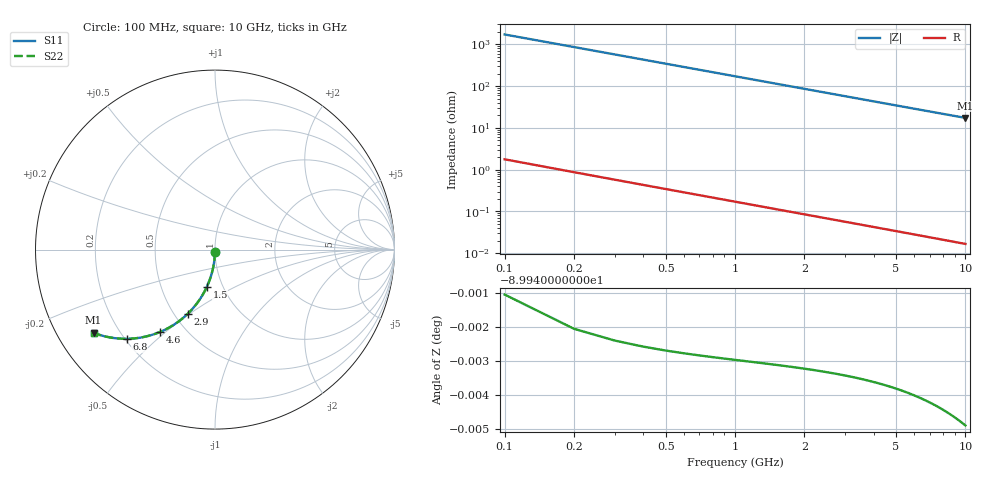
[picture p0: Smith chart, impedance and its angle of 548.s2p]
# Hz S RI R 50.00
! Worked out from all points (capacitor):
!   100 points, 100 MHz to 10 GHz, reference 50 ohm
!   read as one part in shunt: C = 924 fF near 100 MHz
!   lowest |Z| = 17.4 ohm at 10 GHz (marker M1)
!   S11 on the Smith chart (normalised r, x): 100 MHz: 1.00, -0.03; 1.5 GHz: 0.84, -0.36; 2.9 GHz: 0.59, -0.49; 4.6 GHz: 0.36, -0.48; 6.8 GHz: 0.21, -0.40; 10 GHz: 0.11, -0.31
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1e8  -0.0002 -0.0145  0.9997 -0.0146  0.9997 -0.0146  -0.0002 -0.0145
2e8  -0.000845 -0.0289  0.9991 -0.0291  0.9991 -0.0291  -0.000845 -0.0289
3e8  -0.00191 -0.0434  0.998 -0.0436  0.998 -0.0436  -0.00191 -0.0434
4e8  -0.00339 -0.0577  0.9966 -0.058  0.9966 -0.058  -0.00339 -0.0577
5e8  -0.00529 -0.072  0.9947 -0.0724  0.9947 -0.0724  -0.00529 -0.072
6e8  -0.00759 -0.0862  0.9924 -0.0866  0.9924 -0.0866  -0.00759 -0.0862
7e8  -0.0103 -0.1003  0.9897 -0.1008  0.9897 -0.1008  -0.0103 -0.1003
9e8  -0.0169 -0.1281  0.9831 -0.1287  0.9831 -0.1287  -0.0169 -0.1281
1.2e9  -0.0296 -0.1686  0.9704 -0.1694  0.9704 -0.1694  -0.0296 -0.1686
1.5e9  -0.0454 -0.2072  0.9545 -0.2083  0.9545 -0.2083  -0.0454 -0.2072
1.8e9  -0.0641 -0.2438  0.9359 -0.2451  0.9359 -0.2451  -0.0641 -0.2438
2.3e9  -0.1004 -0.2993  0.8995 -0.301  0.8995 -0.301  -0.1004 -0.2993
2.9e9  -0.1506 -0.3562  0.8493 -0.3583  0.8493 -0.3583  -0.1506 -0.3562
3.4e9  -0.1959 -0.3952  0.8041 -0.3976  0.8041 -0.3976  -0.1959 -0.3952
4e9  -0.252 -0.4323  0.7479 -0.4351  0.7479 -0.4351  -0.252 -0.4323
4.6e9  -0.3081 -0.4596  0.6918 -0.4629  0.6918 -0.4629  -0.3081 -0.4596
5.1e9  -0.3536 -0.4758  0.6463 -0.4794  0.6463 -0.4794  -0.3536 -0.4758
5.9e9  -0.4225 -0.4913  0.5775 -0.4956  0.5775 -0.4956  -0.4225 -0.4913
6.7e9  -0.4852 -0.4969  0.5147 -0.5017  0.5147 -0.5017  -0.4852 -0.4969
6.8e9  -0.4926 -0.497  0.5073 -0.5019  0.5073 -0.5019  -0.4926 -0.497
8.4e9  -0.5967 -0.487  0.4032 -0.4931  0.4032 -0.4931  -0.5967 -0.487
1e10  -0.6768 -0.4636  0.3231 -0.4708  0.3231 -0.4708  -0.6768 -0.4636
